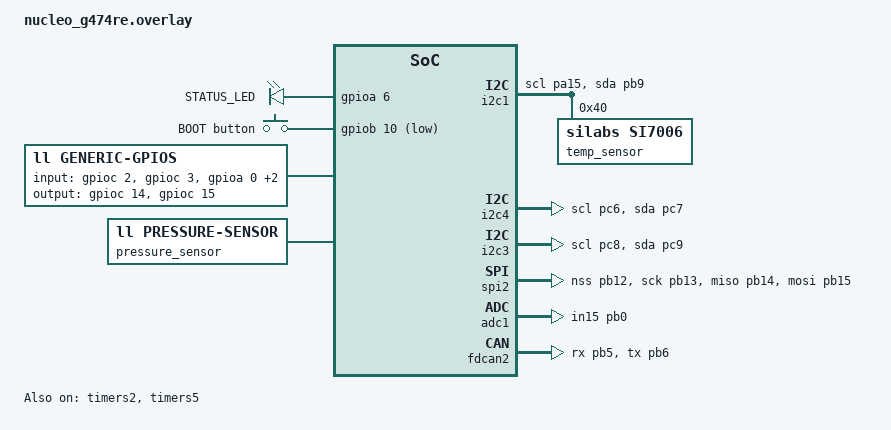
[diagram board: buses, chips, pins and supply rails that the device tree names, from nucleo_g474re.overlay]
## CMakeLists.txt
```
cmake_minimum_required(VERSION 3.20.0)

# Generate a version file based on the git tag & hash at project configuration time
execute_process(
        COMMAND python3 ../gen_version.py
        OUTPUT_FILE ${CMAKE_CURRENT_SOURCE_DIR}/VERSION
        WORKING_DIRECTORY ${CMAKE_CURRENT_SOURCE_DIR}
)


find_package(Zephyr REQUIRED HINTS $ENV{ZEPHYR_BASE})
project(magnet_module_firmware)

set(SRCS
        src/main.c
)

target_sources(app PRIVATE ${SRCS})
target_include_directories(app PRIVATE .)
```

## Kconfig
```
mainmenu "Autotrainer Magnet Module Firmware"

source "Kconfig.zephyr"
```

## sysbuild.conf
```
# Sysbuild configuration file.

# Enable MCUboot by default
SB_CONFIG_BOOTLOADER_MCUBOOT=y
SB_CONFIG_BOOT_SIGNATURE_KEY_FILE="${APP_DIR}/magnet_module_key.pem"
```

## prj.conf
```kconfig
CONFIG_LOG=y
CONFIG_SHELL=y
CONFIG_CONSOLE=y

CONFIG_PM=n
CONFIG_PM_DEVICE=n

CONFIG_BOOTLOADER_MCUBOOT=y
CONFIG_MCUBOOT_IMG_MANAGER=y

# Flash driver to store firmware image
CONFIG_FLASH=y
CONFIG_FLASH_MAP=y
CONFIG_FLASH_PAGE_LAYOUT=y
CONFIG_STREAM_FLASH=y
CONFIG_SPI_NOR_FLASH_LAYOUT_PAGE_SIZE=4096
CONFIG_SPI_NOR_SFDP_RUNTIME=y
CONFIG_IMG_MANAGER=y

CONFIG_INPUT=y
CONFIG_INPUT_EVENT_DUMP=n

CONFIG_FPU=y
CONFIG_FPU_SHARING=y
CONFIG_LIB_MOTOR_MOTION=y

CONFIG_DEBUG=y
CONFIG_DMA_LOG_LEVEL_DBG=n

# This is useful for debugging, but not recommended for production
# CONFIG_THREAD_ANALYZER=y
#CONFIG_THREAD_ANALYZER_USE_LOG=y
#CONFIG_THREAD_ANALYZER_AUTO=y
#CONFIG_THREAD_ANALYZER_AUTO_INTERVAL=30
#CONFIG_THREAD_NAME=y

CONFIG_SETTINGS=y
CONFIG_SETTINGS_SHELL=y

CONFIG_NVS=y
CONFIG_SETTINGS_NVS=y

CONFIG_CAN=y
CONFIG_CAN_FD_MODE=y

CONFIG_SHT3XD_SINGLE_SHOT_MODE=y
CONFIG_SHT3XD_REPEATABILITY_HIGH=y
CONFIG_LIB_JERRYCAN_TEMPERATURE_SENSOR=y

CONFIG_LIB_JERRYCAN=y

CONFIG_I2C=y

CONFIG_SENSOR=y
#CONFIG_SENSOR_SHELL=y

CONFIG_LIB_FFT=y
#CONFIG_LIB_FFT_SHELL=y

CONFIG_LIB_MIC=y
#CONFIG_LIB_MIC_SHELL=y

CONFIG_USB_DEVICE_STACK=y
# Use FTDI's VID and PID as we're only using the device as a serial port
CONFIG_USB_DEVICE_VID=0x0403
CONFIG_USB_DEVICE_PID=0x6001
CONFIG_USB_DEVICE_MANUFACTURER="FTDI"
CONFIG_USB_DEVICE_PRODUCT="USB-DEV"
CONFIG_USB_DEVICE_SN="0123456789ABCDEF"
CONFIG_USB_DEVICE_INITIALIZE_AT_BOOT=y

CONFIG_USB_CDC_ACM=y

# Run-Time Priorities

# always need to manage the audio stream
CONFIG_LIB_JERRYCAN_AUDIO_PRIORITY=-4
# A close second is managing the servos and motors
CONFIG_LIB_MOTOR_MOTION_WORK_QUEUE_PRIORITY=-3
# Then the CANbus I/O (jerrycan_run is called within the context of main())
CONFIG_MAIN_THREAD_PRIORITY=-2
# Background writes should have lowest priority
CONFIG_LIB_MOTOR_MOTION_SETTINGS_WORK_QUEUE_PRIORITY=99

# Stack Sizes

CONFIG_LIB_JERRYCAN_AUDIO_STACK_SIZE=1024
CONFIG_LIB_MOTOR_MOTION_WORK_QUEUE_STACK_SIZE=1024
CONFIG_LIB_MOTOR_MOTION_SETTINGS_WORK_QUEUE_STACK_SIZE=1024

# The board's RNG node is already enabled in the devicetree; this builds the
# driver behind it so sys_rand32_get has a hardware source. Used for the boot
# id in the capabilities response, which has to differ across boots for the
# host to tell a board that restarted from one that never did.
CONFIG_ENTROPY_GENERATOR=y
```

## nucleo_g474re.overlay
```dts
/ {
	leds {
		status = "okay";

        status_led: led_1 {
            gpios = <&gpioa 6 GPIO_ACTIVE_HIGH>;
            label = "STATUS_LED";
        };
    };

	gpio_keys {
		status = "okay";

		boot_button: boot_button {
            label = "BOOT button";
            gpios = <&gpiob 10 GPIO_ACTIVE_LOW>;
            zephyr,code = <INPUT_KEY_1>;
        };

	};

	generic-gpios {
		status = "okay";

		compatible = "ll,generic-gpios";
		input-gpios = <&gpioc 2 GPIO_ACTIVE_HIGH>, // CAN_ID[0] / DeviceType[0]
					  <&gpioc 3 GPIO_ACTIVE_HIGH>, // CAN_ID[1] / DeviceType[1]
					  <&gpioa 0 GPIO_ACTIVE_HIGH>, // CAN_ID[2] / NodeNumber[0]
					  <&gpioa 1 GPIO_ACTIVE_HIGH>, // CAN_ID[3] / NodeNumber[1]
					  <&gpioc 5 GPIO_ACTIVE_HIGH>; // DRDY
		output-gpios = <&gpioc 14 GPIO_ACTIVE_HIGH>, // GPIO0 (input or output?)
					   <&gpioc 15 GPIO_ACTIVE_HIGH>; // GPIO1 (input or output?)
	};

    pressure_sensor: pressure_sensor {
		compatible = "ll,pressure-sensor";
		status = "okay";

		adc = <&adc1>;
		adc-channel = <15>;
		sample-rate = <1000>;
	};
};


&dma1 {
	status = "okay";
};

&dmamux1 {
	status = "okay";
};

&timers2 {
	status = "okay";
	st,prescaler = <84>; // 170 MHz / (84 + 1) = 2 MHz

	servo0: servo0 {
		compatible = "ll,servo";
		status = "okay";

		pinctrl-0 = <&tim2_ch3_pa2>;
		pinctrl-names = "default";

		pwm-channel = <3>;

		dmas = <&dmamux1 0 76 STM32_DMA_PRIORITY_MEDIUM>;
		dma-names = "tx";
	};
};

&timers5 {
	status = "okay";
	st,prescaler = <84>; // 170 MHz / (84 + 1) = 2 MHz

	servo1: servo1 {
		compatible = "ll,servo";
		status = "okay";

		pinctrl-0 = <&tim5_ch4_pa3>;
		pinctrl-names = "default";

		pwm-channel = <4>;

		dmas = <&dmamux1 1 79 STM32_DMA_PRIORITY_MEDIUM>;
		dma-names = "tx";
	};
};

&i2c1 {
	pinctrl-0 = <&i2c1_scl_pa15 &i2c1_sda_pb9>;
	pinctrl-names = "default";
	status = "okay";

	temp_sensor@40 {
		compatible = "silabs,si7006";
		reg = <0x40>;
		status = "okay";
	};
};

&i2c4 {
	pinctrl-0 = <&i2c4_scl_pc6 &i2c4_sda_pc7>;
	pinctrl-names = "default";
	status = "okay";

	// TODO: Load cell goes here
};

&i2c3 {
	pinctrl-0 = <&i2c3_scl_pc8 &i2c3_sda_pc9>;
	pinctrl-names = "default";
	status = "okay";
};

&spi2 {
	pinctrl-0 = <&spi2_nss_pb12 &spi2_sck_pb13
				 &spi2_miso_pb14 &spi2_mosi_pb15>;
	pinctrl-names = "default";
	status = "okay";
};

&adc1 {
	pinctrl-0 = <&adc1_in15_pb0>;
	pinctrl-names = "default";
	st,adc-clock-source = <SYNC>;
	st,adc-prescaler = <4>;
	status = "okay";
};

&fdcan2 {
	clocks = <&rcc STM32_CLOCK_BUS_APB1 0x02000000>,
			 <&rcc STM32_SRC_HSE FDCAN_SEL(0)>;
	pinctrl-0 = <&fdcan2_rx_pb5 &fdcan2_tx_pb6>;
	pinctrl-names = "default";
	status = "okay";
};
```

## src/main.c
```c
#include <app_version.h>
#include <zephyr/device.h>
#include <zephyr/drivers/sensor.h>
#include <zephyr/kernel.h>
#include <zephyr/logging/log.h>

#include "jerrycan.h"

LOG_MODULE_REGISTER(app);

int main() {
    LOG_INF("Autotrainer Magnet Module v%s", APP_VERSION_STRING);
    while (true) {
        jerrycan_run(K_FOREVER);
    }
}
```
